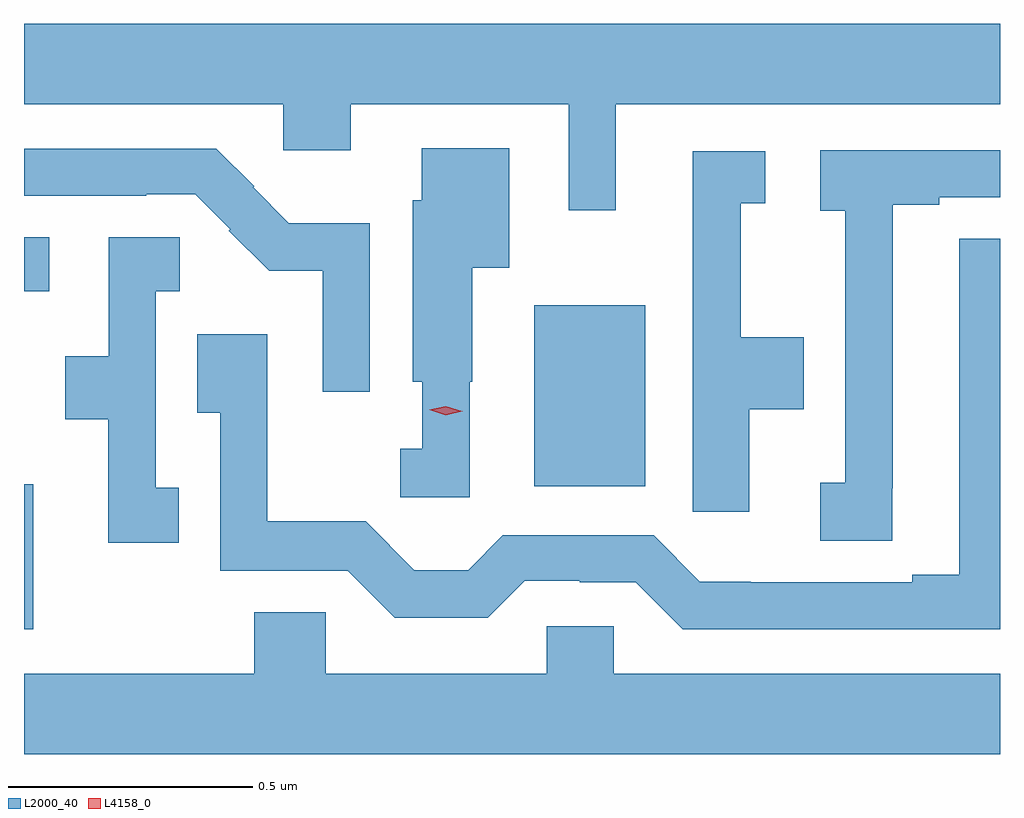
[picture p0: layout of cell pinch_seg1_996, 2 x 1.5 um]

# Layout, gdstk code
import gdstk
lib = gdstk.Library(unit=1e-6, precision=1e-09)
def R(c, l, rs):  # rectangles x0, y0, x1, y1
    for r in rs: c.add(gdstk.rectangle(r[:2], r[2:], *l))
def P(c, l, *ps):  # polygons
    for p in ps: c.add(gdstk.Polygon(p, *l))
L2000_40 = (2000, 40)
L4158_0 = (4158, 0)

pinch_seg1_996 = lib.new_cell('pinch_seg1_996')
R(pinch_seg1_996, L2000_40, [(334.542,506.7,334.561,506.997), (335.588,506.993,335.815,507.364), (334.542,507.392,334.594,507.503)])
P(pinch_seg1_996, L2000_40, [(335.755,507.776),(336.542,507.776),(336.542,507.94),(334.542,507.94),(334.542,507.776),(335.073,507.776),(335.073,507.681),(335.212,507.681),(335.212,507.776),(335.658,507.776),(335.658,507.558),(335.755,507.558)],
  [(335.455,507.207),(335.461,507.207),(335.461,507.44),(335.536,507.44),(335.536,507.685),(335.357,507.685),(335.357,507.579),(335.339,507.579),(335.339,507.207),(335.358,507.207),(335.358,507.07),(335.313,507.07),(335.313,506.97),(335.455,506.97)],
  [(335.25,507.532),(335.085,507.532),(335.012,507.605),(335.014,507.607),(334.936,507.684),(334.542,507.684),(334.542,507.588),(334.793,507.588),(334.793,507.591),(334.893,507.591),(334.965,507.519),(334.962,507.516),(335.045,507.434),(335.154,507.434),(335.154,507.186),(335.25,507.186)],
  [(336.321,506.989),(336.322,506.989),(336.322,507.57),(336.418,507.57),(336.418,507.585),(336.542,507.585),(336.542,507.681),(336.174,507.681),(336.174,507.557),(336.225,507.557),(336.225,507),(336.174,507),(336.174,506.881),(336.321,506.881)],
  [(336.028,507.151),(336.14,507.151),(336.14,507.298),(336.011,507.298),(336.011,507.573),(336.061,507.573),(336.061,507.679),(335.912,507.679),(335.912,506.94),(336.028,506.94)],
  [(334.859,506.99),(334.812,506.99),(334.812,507.392),(334.861,507.392),(334.861,507.503),(334.716,507.503),(334.716,507.259),(334.627,507.259),(334.627,507.13),(334.715,507.13),(334.715,506.877),(334.859,506.877)],
  [(336.542,507.5),(336.459,507.5),(336.459,507.392),(336.458,507.392),(336.458,506.811),(336.362,506.811),(336.362,506.796),(336.031,506.796),(336.031,506.797),(335.927,506.797),(335.832,506.892),(335.523,506.892),(335.452,506.821),(335.342,506.821),(335.242,506.921),(335.04,506.921),(335.04,507.304),(334.897,507.304),(334.897,507.143),(334.944,507.143),(334.944,506.82),(335.205,506.82),(335.302,506.723),(335.492,506.723),(335.568,506.799),(335.681,506.799),(335.681,506.796),(335.796,506.796),(335.892,506.7),(336.542,506.7)],
  [(336.542,506.608),(335.751,506.608),(335.751,506.706),(335.613,506.706),(335.613,506.608),(335.16,506.608),(335.16,506.735),(335.014,506.735),(335.014,506.608),(334.542,506.608),(334.542,506.444),(336.542,506.444)])
P(pinch_seg1_996, L4158_0, [(335.406,507.138),(335.372,507.149),(335.371,507.149),(335.372,507.149),(335.406,507.157),(335.44,507.146),(335.441,507.146),(335.44,507.146)])

lib.write_gds('pinch_seg1_996.gds')
